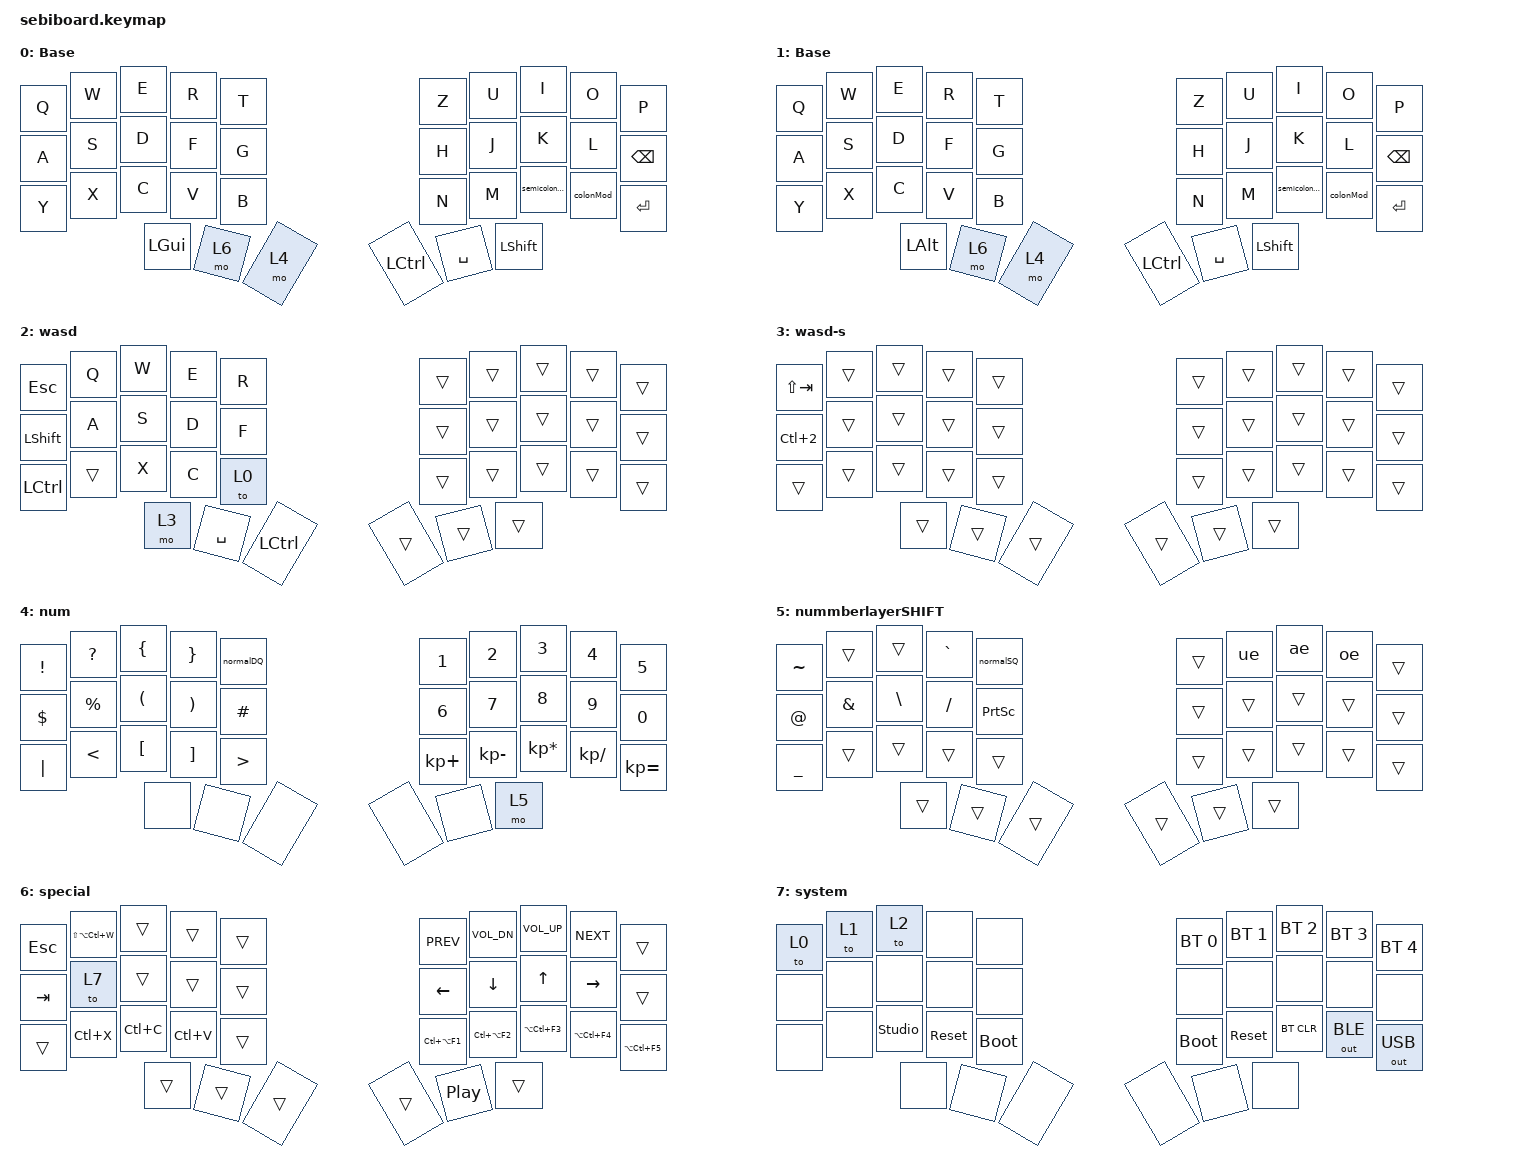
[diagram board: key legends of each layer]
#include <behaviors.dtsi>
#include <dt-bindings/zmk/bt.h>
#include <dt-bindings/zmk/keys.h>
#include <dt-bindings/zmk/outputs.h>

#define HOST_OS 1

#include "zmk-helpers/helper.h"
#include "zmk-helpers/unicode-chars/german.dtsi"

// dt-formatter: indent = "  "
// dt-formatter: multilineIntegerCellsIndent = "reindent"
// dt-formatter: multilineListCommaStyle = "leading"

/ {
  combos { compatible = "zmk,combos"; };

  behaviors {
    semicolonMod: semicolonMod {
      compatible = "zmk,behavior-mod-morph";
      label = "SEMICOLONMOD";
      bindings = <&kp COMMA>, <&kp SEMI>;

      #binding-cells = <0>;
      mods = <(MOD_LSFT)>;
    };

    colonMod: colonMod {
      compatible = "zmk,behavior-mod-morph";
      label = "COLONMOD";
      bindings = <&kp DOT>, <&kp COLON>;

      #binding-cells = <0>;
      mods = <(MOD_LSFT)>;
    };
  };

  macros {
    ue: ue {
      compatible = "zmk,behavior-macro";
      #binding-cells = <0>;
      bindings = <&kp DQT &kp U>;
      label = "UE";
    };

    normalDQ: normalDQ {
      compatible = "zmk,behavior-macro";
      #binding-cells = <0>;
      bindings = <&kp DQT &kp SPACE>;
      label = "NORMALDQ";
    };

    ae: ae {
      compatible = "zmk,behavior-macro";
      #binding-cells = <0>;
      bindings = <&kp DQT &kp A>;
      label = "AE";
    };

    oe: oe {
      compatible = "zmk,behavior-macro";
      #binding-cells = <0>;
      bindings = <&kp DQT &kp O>;
      label = "OE";
    };

    normalSQ: normalSQ {
      compatible = "zmk,behavior-macro";
      #binding-cells = <0>;
      bindings = <&kp SQT &kp SPACE>;
      label = "NORMALSQ";
    };
  };

  keymap {
    compatible = "zmk,keymap";

    default_layer {
      display-name = "Base";
      bindings = <
        &kp Q  &kp W  &kp E     &kp R  &kp T  &kp Z             &kp U      &kp I           &kp O      &kp P
        &kp A  &kp S  &kp D     &kp F  &kp G  &kp H             &kp J      &kp K           &kp L      &kp BACKSPACE
        &kp Y  &kp X  &kp C     &kp V  &kp B  &kp N             &kp M      &semicolonMod   &colonMod  &kp ENTER
                      &kp LGUI  &mo 6  &mo 4  &kp LEFT_CONTROL  &kp SPACE  &kp LEFT_SHIFT
      >;
    };

    base-m11 {
      display-name = "Base";
      bindings = <
        &kp Q  &kp W  &kp E         &kp R  &kp T  &kp Z             &kp U      &kp I           &kp O      &kp P
        &kp A  &kp S  &kp D         &kp F  &kp G  &kp H             &kp J      &kp K           &kp L      &kp BACKSPACE
        &kp Y  &kp X  &kp C         &kp V  &kp B  &kp N             &kp M      &semicolonMod   &colonMod  &kp ENTER
                      &kp LEFT_ALT  &mo 6  &mo 4  &kp LEFT_CONTROL  &kp SPACE  &kp LEFT_SHIFT
      >;
    };

    wasd {
      bindings = <
        &kp ESC           &kp Q   &kp W  &kp E      &kp R             &trans  &trans  &trans  &trans  &trans
        &kp LEFT_SHIFT    &kp A   &kp S  &kp D      &kp F             &trans  &trans  &trans  &trans  &trans
        &kp LEFT_CONTROL  &trans  &kp X  &kp C      &to 0             &trans  &trans  &trans  &trans  &trans
                                  &mo 3  &kp SPACE  &kp LEFT_CONTROL  &trans  &trans  &trans
      >;
    };

    wasd-s {
      bindings = <
        &kp LS(TAB)       &trans  &trans  &trans  &trans  &trans  &trans  &trans  &trans  &trans
        &kp LC(NUMBER_2)  &trans  &trans  &trans  &trans  &trans  &trans  &trans  &trans  &trans
        &trans            &trans  &trans  &trans  &trans  &trans  &trans  &trans  &trans  &trans
                                  &trans  &trans  &trans  &trans  &trans  &trans
      >;
    };

    nummber_layer {
      display-name = "num";
      bindings = <
        &kp EXCL    &kp QUESTION  &kp LEFT_BRACE        &kp RIGHT_BRACE        &normalDQ  &kp N1       &kp N2        &kp N3           &kp N4         &kp N5
        &kp DOLLAR  &kp PERCENT   &kp LEFT_PARENTHESIS  &kp RIGHT_PARENTHESIS  &kp HASH   &kp N6       &kp N7        &kp N8           &kp N9         &kp N0
        &kp PIPE    &kp LT        &kp LEFT_BRACKET      &kp RIGHT_BRACKET      &kp GT     &kp KP_PLUS  &kp KP_MINUS  &kp KP_MULTIPLY  &kp KP_DIVIDE  &kp KP_EQUAL
                                  &none                 &none                  &none      &none        &none         &mo 5
      >;
    };

    nummberlayerSHIFT {
      bindings = <
        &kp TILDE  &trans    &trans         &kp GRAVE  &normalSQ        &trans  &ue     &ae     &oe     &trans
        &kp AT     &kp AMPS  &kp BACKSLASH  &kp SLASH  &kp PRINTSCREEN  &trans  &trans  &trans  &trans  &trans
        &kp UNDER  &trans    &trans         &trans     &trans           &trans  &trans  &trans  &trans  &trans
                             &trans         &trans     &trans           &trans  &trans  &trans
      >;
    };

    special {
      bindings = <
        &kp ESC  &kp LS(LA(LC(W)))  &trans     &trans     &trans  &kp C_PREV      &kp C_VOL_DN      &kp C_VOLUME_UP  &kp C_NEXT       &trans
        &kp TAB  &to 7              &trans     &trans     &trans  &kp LEFT_ARROW  &kp DOWN_ARROW    &kp UP_ARROW     &kp RIGHT_ARROW  &trans
        &trans   &kp LC(X)          &kp LC(C)  &kp LC(V)  &trans  &kp LC(LA(F1))  &kp LC(LA(F2))    &kp LA(LC(F3))   &kp LA(LC(F4))   &kp LA(LC(F5))
                                    &trans     &trans     &trans  &trans          &kp C_PLAY_PAUSE  &trans
      >;
    };

    system {
      bindings = <
        &to 0  &to 1  &to 2           &none       &none        &bt BT_SEL 0  &bt BT_SEL 1  &bt BT_SEL 2  &bt BT_SEL 3  &bt BT_SEL 4
        &none  &none  &none           &none       &none        &none         &none         &none         &none         &none
        &none  &none  &studio_unlock  &sys_reset  &bootloader  &bootloader   &sys_reset    &bt BT_CLR    &out OUT_BLE  &out OUT_USB
                      &none           &none       &none        &none         &none         &none
      >;
    };

    extra1 { status = "reserved"; };

    extra2 { status = "reserved"; };

    extra4 { status = "reserved"; };

    extra5 { status = "reserved"; };

    extra6 { status = "reserved"; };

    extra7 { status = "reserved"; };

    extra8 { status = "reserved"; };

    extra9 { status = "reserved"; };
  };
};
